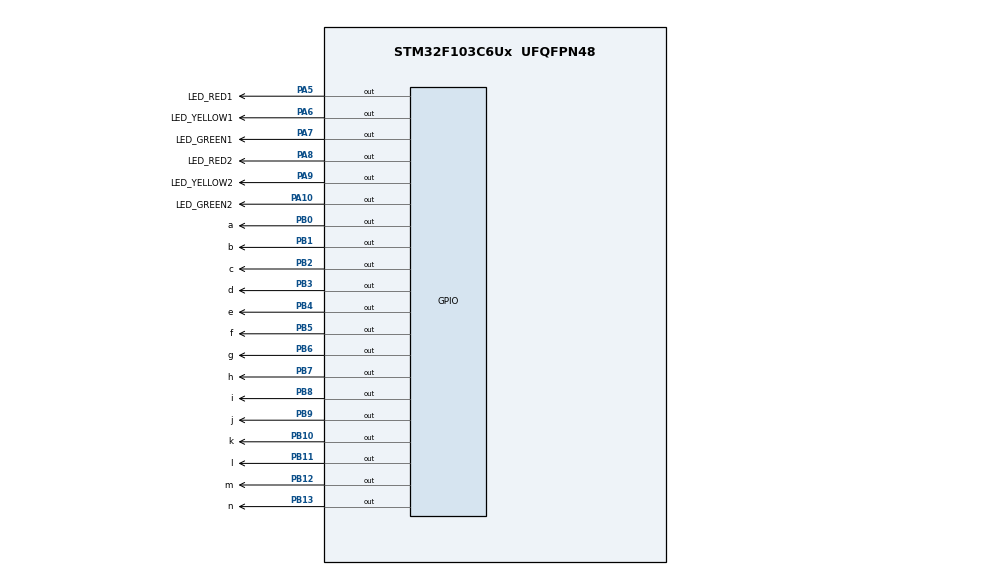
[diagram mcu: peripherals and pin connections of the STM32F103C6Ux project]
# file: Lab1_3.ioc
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Mcu.Family=STM32F1
Mcu.Name=STM32F103C6Ux
Mcu.Package=UFQFPN48
NVIC.PriorityGroup=NVIC_PRIORITYGROUP_4
PA10.GPIO_Label=LED_GREEN2
PA10.Signal=GPIO_Output
PA5.GPIO_Label=LED_RED1
PA5.Signal=GPIO_Output
PA6.GPIO_Label=LED_YELLOW1
PA6.Signal=GPIO_Output
PA7.GPIO_Label=LED_GREEN1
PA7.Signal=GPIO_Output
PA8.GPIO_Label=LED_RED2
PA8.Signal=GPIO_Output
PA9.GPIO_Label=LED_YELLOW2
PA9.Signal=GPIO_Output
PB0.GPIO_Label=a
PB0.Signal=GPIO_Output
PB1.GPIO_Label=b
PB1.Signal=GPIO_Output
PB10.GPIO_Label=k
PB10.Signal=GPIO_Output
PB11.GPIO_Label=l
PB11.Signal=GPIO_Output
PB12.GPIO_Label=m
PB12.Signal=GPIO_Output
PB13.GPIO_Label=n
PB13.Signal=GPIO_Output
PB2.GPIO_Label=c
PB2.Signal=GPIO_Output
PB3.GPIO_Label=d
PB3.Signal=GPIO_Output
PB4.GPIO_Label=e
PB4.Signal=GPIO_Output
PB5.GPIO_Label=f
PB5.Signal=GPIO_Output
PB6.GPIO_Label=g
PB6.Signal=GPIO_Output
PB7.GPIO_Label=h
PB7.Signal=GPIO_Output
PB8.GPIO_Label=i
PB8.Signal=GPIO_Output
PB9.GPIO_Label=j
PB9.Signal=GPIO_Output
ProjectManager.HeapSize=0x200
ProjectManager.StackSize=0x400
ProjectManager.TargetToolchain=STM32CubeIDE
RCC.APB1Freq_Value=8000000
RCC.APB2Freq_Value=8000000
VP_SYS_VS_ND.Mode=No_Debug
board=custom

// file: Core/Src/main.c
/* USER CODE BEGIN Header */
/**
  ******************************************************************************
  * @file           : main.c
  * @brief          : Main program body
  ******************************************************************************
  * @attention
  *
  * <h2><center>&copy; Copyright (c) 2024 STMicroelectronics.
  * All rights reserved.</center></h2>
  *
  * This software component is licensed by ST under BSD 3-Clause license,
  * the "License"; You may not use this file except in compliance with the
  * License. You may obtain a copy of the License at:
  *                        opensource.org/licenses/BSD-3-Clause
  *
  ******************************************************************************
  */
/* USER CODE END Header */
#include "main.h"

void SystemClock_Config(void);
static void MX_GPIO_Init(void);

/* USER CODE BEGIN 0 */
void display7SEG_1(int num)
{
	if(num == 0)
	{
		HAL_GPIO_WritePin(a_GPIO_Port, a_Pin, RESET);
		HAL_GPIO_WritePin(b_GPIO_Port, b_Pin, RESET);
		HAL_GPIO_WritePin(c_GPIO_Port, c_Pin, RESET);
		HAL_GPIO_WritePin(d_GPIO_Port, d_Pin, RESET);
		HAL_GPIO_WritePin(e_GPIO_Port, e_Pin, RESET);
		HAL_GPIO_WritePin(f_GPIO_Port, f_Pin, RESET);
		HAL_GPIO_WritePin(g_GPIO_Port, g_Pin, SET);
	}
	else if(num == 1)
	{
		HAL_GPIO_WritePin(a_GPIO_Port, a_Pin, SET);
		HAL_GPIO_WritePin(b_GPIO_Port, b_Pin, RESET);
		HAL_GPIO_WritePin(c_GPIO_Port, c_Pin, RESET);
		HAL_GPIO_WritePin(d_GPIO_Port, d_Pin, SET);
		HAL_GPIO_WritePin(e_GPIO_Port, e_Pin, SET);
		HAL_GPIO_WritePin(f_GPIO_Port, f_Pin, SET);
		HAL_GPIO_WritePin(g_GPIO_Port, g_Pin, SET);
	}
	else if(num == 2)
	{
		HAL_GPIO_WritePin(a_GPIO_Port, a_Pin, RESET);
		HAL_GPIO_WritePin(b_GPIO_Port, b_Pin, RESET);
		HAL_GPIO_WritePin(c_GPIO_Port, c_Pin, SET);
		HAL_GPIO_WritePin(d_GPIO_Port, d_Pin, RESET);
		HAL_GPIO_WritePin(e_GPIO_Port, e_Pin, RESET);
		HAL_GPIO_WritePin(f_GPIO_Port, f_Pin, SET);
		HAL_GPIO_WritePin(g_GPIO_Port, g_Pin, RESET);
	}
	else if(num == 3)
	{
		HAL_GPIO_WritePin(a_GPIO_Port, a_Pin, RESET);
		HAL_GPIO_WritePin(b_GPIO_Port, b_Pin, RESET);
		HAL_GPIO_WritePin(c_GPIO_Port, c_Pin, RESET);
		HAL_GPIO_WritePin(d_GPIO_Port, d_Pin, RESET);
		HAL_GPIO_WritePin(e_GPIO_Port, e_Pin, SET);
		HAL_GPIO_WritePin(f_GPIO_Port, f_Pin, SET);
		HAL_GPIO_WritePin(g_GPIO_Port, g_Pin, RESET);
	}
	else if(num == 4)
	{
		HAL_GPIO_WritePin(a_GPIO_Port, a_Pin, SET);
		HAL_GPIO_WritePin(b_GPIO_Port, b_Pin, RESET);
		HAL_GPIO_WritePin(c_GPIO_Port, c_Pin, RESET);
		HAL_GPIO_WritePin(d_GPIO_Port, d_Pin, SET);
		HAL_GPIO_WritePin(e_GPIO_Port, e_Pin, SET);
		HAL_GPIO_WritePin(f_GPIO_Port, f_Pin, RESET);
		HAL_GPIO_WritePin(g_GPIO_Port, g_Pin, RESET);
	}
	else if(num == 5)
	{
		HAL_GPIO_WritePin(a_GPIO_Port, a_Pin, RESET);
		HAL_GPIO_WritePin(b_GPIO_Port, b_Pin, SET);
		HAL_GPIO_WritePin(c_GPIO_Port, c_Pin, RESET);
		HAL_GPIO_WritePin(d_GPIO_Port, d_Pin, RESET);
		HAL_GPIO_WritePin(e_GPIO_Port, e_Pin, SET);
		HAL_GPIO_WritePin(f_GPIO_Port, f_Pin, RESET);
		HAL_GPIO_WritePin(g_GPIO_Port, g_Pin, RESET);
	}
	else if(num == 6)
	{
		HAL_GPIO_WritePin(a_GPIO_Port, a_Pin, RESET);
		HAL_GPIO_WritePin(b_GPIO_Port, b_Pin, SET);
		HAL_GPIO_WritePin(c_GPIO_Port, c_Pin, RESET);
		HAL_GPIO_WritePin(d_GPIO_Port, d_Pin, RESET);
		HAL_GPIO_WritePin(e_GPIO_Port, e_Pin, RESET);
		HAL_GPIO_WritePin(f_GPIO_Port, f_Pin, RESET);
		HAL_GPIO_WritePin(g_GPIO_Port, g_Pin, RESET);
	}
	else if(num == 7)
	{
		HAL_GPIO_WritePin(a_GPIO_Port, a_Pin, RESET);
		HAL_GPIO_WritePin(b_GPIO_Port, b_Pin, RESET);
		HAL_GPIO_WritePin(c_GPIO_Port, c_Pin, RESET);
		HAL_GPIO_WritePin(d_GPIO_Port, d_Pin, SET);
		HAL_GPIO_WritePin(e_GPIO_Port, e_Pin, SET);
		HAL_GPIO_WritePin(f_GPIO_Port, f_Pin, SET);
		HAL_GPIO_WritePin(g_GPIO_Port, g_Pin, SET);
	}
	else if(num == 8)
	{
		HAL_GPIO_WritePin(a_GPIO_Port, a_Pin, RESET);
		HAL_GPIO_WritePin(b_GPIO_Port, b_Pin, RESET);
		HAL_GPIO_WritePin(c_GPIO_Port, c_Pin, RESET);
		HAL_GPIO_WritePin(d_GPIO_Port, d_Pin, RESET);
		HAL_GPIO_WritePin(e_GPIO_Port, e_Pin, RESET);
		HAL_GPIO_WritePin(f_GPIO_Port, f_Pin, RESET);
		HAL_GPIO_WritePin(g_GPIO_Port, g_Pin, RESET);
	}
	else if(num == 9)
	{
		HAL_GPIO_WritePin(a_GPIO_Port, a_Pin, RESET);
		HAL_GPIO_WritePin(b_GPIO_Port, b_Pin, RESET);
		HAL_GPIO_WritePin(c_GPIO_Port, c_Pin, RESET);
		HAL_GPIO_WritePin(d_GPIO_Port, d_Pin, RESET);
		HAL_GPIO_WritePin(e_GPIO_Port, e_Pin, SET);
		HAL_GPIO_WritePin(f_GPIO_Port, f_Pin, RESET);
		HAL_GPIO_WritePin(g_GPIO_Port, g_Pin, RESET);
	}
}

void display7SEG_2(int num)
{
	if(num == 0)
	{
		HAL_GPIO_WritePin(h_GPIO_Port, h_Pin, RESET);
		HAL_GPIO_WritePin(i_GPIO_Port, i_Pin, RESET);
		HAL_GPIO_WritePin(j_GPIO_Port, j_Pin, RESET);
		HAL_GPIO_WritePin(k_GPIO_Port, k_Pin, RESET);
		HAL_GPIO_WritePin(l_GPIO_Port, l_Pin, RESET);
		HAL_GPIO_WritePin(m_GPIO_Port, m_Pin, RESET);
		HAL_GPIO_WritePin(n_GPIO_Port, n_Pin, SET);
	}
	else if(num == 1)
	{
		HAL_GPIO_WritePin(h_GPIO_Port, h_Pin, SET);
		HAL_GPIO_WritePin(i_GPIO_Port, i_Pin, RESET);
		HAL_GPIO_WritePin(j_GPIO_Port, j_Pin, RESET);
		HAL_GPIO_WritePin(k_GPIO_Port, k_Pin, SET);
		HAL_GPIO_WritePin(l_GPIO_Port, l_Pin, SET);
		HAL_GPIO_WritePin(m_GPIO_Port, m_Pin, SET);
		HAL_GPIO_WritePin(n_GPIO_Port, n_Pin, SET);
	}
	else if(num == 2)
	{
		HAL_GPIO_WritePin(h_GPIO_Port, h_Pin, RESET);
		HAL_GPIO_WritePin(i_GPIO_Port, i_Pin, RESET);
		HAL_GPIO_WritePin(j_GPIO_Port, j_Pin, SET);
		HAL_GPIO_WritePin(k_GPIO_Port, k_Pin, RESET);
		HAL_GPIO_WritePin(l_GPIO_Port, l_Pin, RESET);
		HAL_GPIO_WritePin(m_GPIO_Port, m_Pin, SET);
		HAL_GPIO_WritePin(n_GPIO_Port, n_Pin, RESET);
	}
	else if(num == 3)
	{
		HAL_GPIO_WritePin(h_GPIO_Port, h_Pin, RESET);
		HAL_GPIO_WritePin(i_GPIO_Port, i_Pin, RESET);
		HAL_GPIO_WritePin(j_GPIO_Port, j_Pin, RESET);
		HAL_GPIO_WritePin(k_GPIO_Port, k_Pin, RESET);
		HAL_GPIO_WritePin(l_GPIO_Port, l_Pin, SET);
		HAL_GPIO_WritePin(m_GPIO_Port, m_Pin, SET);
		HAL_GPIO_WritePin(n_GPIO_Port, n_Pin, RESET);
	}
	else if(num == 4)
	{
		HAL_GPIO_WritePin(h_GPIO_Port, h_Pin, SET);
		HAL_GPIO_WritePin(i_GPIO_Port, i_Pin, RESET);
		HAL_GPIO_WritePin(j_GPIO_Port, j_Pin, RESET);
		HAL_GPIO_WritePin(k_GPIO_Port, k_Pin, SET);
		HAL_GPIO_WritePin(l_GPIO_Port, l_Pin, SET);
		HAL_GPIO_WritePin(m_GPIO_Port, m_Pin, RESET);
		HAL_GPIO_WritePin(n_GPIO_Port, n_Pin, RESET);
	}
	else if(num == 5)
	{
		HAL_GPIO_WritePin(h_GPIO_Port, h_Pin, RESET);
		HAL_GPIO_WritePin(i_GPIO_Port, i_Pin, SET);
		HAL_GPIO_WritePin(j_GPIO_Port, j_Pin, RESET);
		HAL_GPIO_WritePin(k_GPIO_Port, k_Pin, RESET);
		HAL_GPIO_WritePin(l_GPIO_Port, l_Pin, SET);
		HAL_GPIO_WritePin(m_GPIO_Port, m_Pin, RESET);
		HAL_GPIO_WritePin(n_GPIO_Port, n_Pin, RESET);
	}
	else if(num == 6)
	{
		HAL_GPIO_WritePin(h_GPIO_Port, h_Pin, RESET);
		HAL_GPIO_WritePin(i_GPIO_Port, i_Pin, SET);
		HAL_GPIO_WritePin(j_GPIO_Port, j_Pin, RESET);
		HAL_GPIO_WritePin(k_GPIO_Port, k_Pin, RESET);
		HAL_GPIO_WritePin(l_GPIO_Port, l_Pin, RESET);
		HAL_GPIO_WritePin(m_GPIO_Port, m_Pin, RESET);
		HAL_GPIO_WritePin(n_GPIO_Port, n_Pin, RESET);
	}
	else if(num == 7)
	{
		HAL_GPIO_WritePin(h_GPIO_Port, h_Pin, RESET);
		HAL_GPIO_WritePin(i_GPIO_Port, i_Pin, RESET);
		HAL_GPIO_WritePin(j_GPIO_Port, j_Pin, RESET);
		HAL_GPIO_WritePin(k_GPIO_Port, k_Pin, SET);
		HAL_GPIO_WritePin(l_GPIO_Port, l_Pin, SET);
		HAL_GPIO_WritePin(m_GPIO_Port, m_Pin, SET);
		HAL_GPIO_WritePin(n_GPIO_Port, n_Pin, SET);
	}
	else if(num == 8)
	{
		HAL_GPIO_WritePin(h_GPIO_Port, h_Pin, RESET);
		HAL_GPIO_WritePin(i_GPIO_Port, i_Pin, RESET);
		HAL_GPIO_WritePin(j_GPIO_Port, j_Pin, RESET);
		HAL_GPIO_WritePin(k_GPIO_Port, k_Pin, RESET);
		HAL_GPIO_WritePin(l_GPIO_Port, l_Pin, RESET);
		HAL_GPIO_WritePin(m_GPIO_Port, m_Pin, RESET);
		HAL_GPIO_WritePin(n_GPIO_Port, n_Pin, RESET);
	}
	else if(num == 9)
	{
		HAL_GPIO_WritePin(h_GPIO_Port, h_Pin, RESET);
		HAL_GPIO_WritePin(i_GPIO_Port, i_Pin, RESET);
		HAL_GPIO_WritePin(j_GPIO_Port, j_Pin, RESET);
		HAL_GPIO_WritePin(k_GPIO_Port, k_Pin, RESET);
		HAL_GPIO_WritePin(l_GPIO_Port, l_Pin, SET);
		HAL_GPIO_WritePin(m_GPIO_Port, m_Pin, RESET);
		HAL_GPIO_WritePin(n_GPIO_Port, n_Pin, RESET);
	}
}
/* USER CODE END 0 */

int main(void)
{

  /* MCU Configuration--------------------------------------------------------*/

  /* Reset of all peripherals, Initializes the Flash interface and the Systick. */
  HAL_Init();

  /* Configure the system clock */
  SystemClock_Config();

  /* Initialize all configured peripherals */
  MX_GPIO_Init();

  /* Infinite loop */
  /* USER CODE BEGIN WHILE */
  HAL_GPIO_WritePin(LED_RED1_GPIO_Port, LED_RED1_Pin, SET);
  HAL_GPIO_WritePin(LED_YELLOW1_GPIO_Port, LED_YELLOW1_Pin, SET);
  HAL_GPIO_WritePin(LED_GREEN1_GPIO_Port, LED_GREEN1_Pin, SET);
  HAL_GPIO_WritePin(LED_RED2_GPIO_Port, LED_RED2_Pin, SET);
  HAL_GPIO_WritePin(LED_YELLOW2_GPIO_Port, LED_YELLOW2_Pin, SET);
  HAL_GPIO_WritePin(LED_GREEN2_GPIO_Port, LED_GREEN2_Pin, SET);

  HAL_GPIO_WritePin(a_GPIO_Port, a_Pin, SET);
  HAL_GPIO_WritePin(b_GPIO_Port, b_Pin, SET);
  HAL_GPIO_WritePin(c_GPIO_Port, c_Pin, SET);
  HAL_GPIO_WritePin(d_GPIO_Port, d_Pin, SET);
  HAL_GPIO_WritePin(e_GPIO_Port, e_Pin, SET);
  HAL_GPIO_WritePin(f_GPIO_Port, f_Pin, SET);
  HAL_GPIO_WritePin(g_GPIO_Port, g_Pin, SET);
  HAL_GPIO_WritePin(h_GPIO_Port, h_Pin, SET);
  HAL_GPIO_WritePin(i_GPIO_Port, i_Pin, SET);
  HAL_GPIO_WritePin(j_GPIO_Port, j_Pin, SET);
  HAL_GPIO_WritePin(k_GPIO_Port, k_Pin, SET);
  HAL_GPIO_WritePin(l_GPIO_Port, l_Pin, SET);
  HAL_GPIO_WritePin(m_GPIO_Port, m_Pin, SET);
  HAL_GPIO_WritePin(n_GPIO_Port, n_Pin, SET);

  // int counter = 0;

  while (1)
  {
	  for(int i = 9; i >= 0; i--)
	  {
		  if(i >= 5)
		  {
			  HAL_GPIO_WritePin(LED_YELLOW1_GPIO_Port, LED_YELLOW1_Pin, SET);
			  HAL_GPIO_WritePin(LED_RED1_GPIO_Port, LED_RED1_Pin, RESET);
			  display7SEG_1(i - 5);
		  }
		  else if(i >= 2)
		  {
			  HAL_GPIO_WritePin(LED_RED1_GPIO_Port, LED_RED1_Pin, SET);
			  HAL_GPIO_WritePin(LED_GREEN1_GPIO_Port, LED_GREEN1_Pin, RESET);
			  display7SEG_1(i - 2);
		  }
		  else
		  {
			  HAL_GPIO_WritePin(LED_GREEN1_GPIO_Port, LED_GREEN1_Pin, SET);
			  HAL_GPIO_WritePin(LED_YELLOW1_GPIO_Port, LED_YELLOW1_Pin, RESET);
			  display7SEG_1(i);
		  }
		  if(i >= 7)
		  {
			  HAL_GPIO_WritePin(LED_RED2_GPIO_Port, LED_RED2_Pin, SET);
			  HAL_GPIO_WritePin(LED_GREEN2_GPIO_Port, LED_GREEN2_Pin, RESET);
			  display7SEG_2(i - 7);
		  }
		  else if(i >= 5)
		  {
			  HAL_GPIO_WritePin(LED_GREEN2_GPIO_Port, LED_GREEN2_Pin, SET);
			  HAL_GPIO_WritePin(LED_YELLOW2_GPIO_Port, LED_YELLOW2_Pin, RESET);
			  display7SEG_2(i - 5);
		  }
		  else
		  {
			  HAL_GPIO_WritePin(LED_YELLOW2_GPIO_Port, LED_YELLOW2_Pin, SET);
			  HAL_GPIO_WritePin(LED_RED2_GPIO_Port, LED_RED2_Pin, RESET);
			  display7SEG_2(i);
		  }
		  HAL_Delay(1000);
	  }
//	  if(counter <= 0)
//	  {
//		  counter = 9;
//	  }
//	  switch(state)
//	  {
//	  	  case 1:
//			  HAL_GPIO_TogglePin(LED_RED1_GPIO_Port, LED_RED1_Pin);
//			  HAL_GPIO_TogglePin(LED_GREEN2_GPIO_Port, LED_GREEN2_Pin);
//			  for(int i = 5; i >= 3; i--)
//			  {
//				  display7SEG(counter);
//				  counter--;
//				  HAL_Delay(1000);
//			  }
//			  // HAL_Delay(3000);
//			  HAL_GPIO_TogglePin(LED_GREEN2_GPIO_Port, LED_GREEN2_Pin);
//			  state = 2;
//			  break;
//	  	  case 2:
//			  HAL_GPIO_TogglePin(LED_YELLOW2_GPIO_Port, LED_YELLOW2_Pin);
//			  for(int i = 2; i >= 1; i--)
//			  {
//				  display7SEG(counter);
//				  counter--;
//				  HAL_Delay(1000);
//			  }
//			  // HAL_Delay(2000);
//			  HAL_GPIO_TogglePin(LED_YELLOW2_GPIO_Port, LED_YELLOW2_Pin);
//			  HAL_GPIO_TogglePin(LED_RED1_GPIO_Port, LED_RED1_Pin);
//			  state = 3;
//			  break;
//	  	  case 3:
//	  		  HAL_GPIO_TogglePin(LED_RED2_GPIO_Port, LED_RED2_Pin);
//			  HAL_GPIO_TogglePin(LED_GREEN1_GPIO_Port, LED_GREEN1_Pin);
//			  for(int i = 5; i >= 3; i--)
//			  {
//				  display7SEG(counter);
//				  counter--;
//				  HAL_Delay(1000);
//			  }
//			  // HAL_Delay(3000);
//			  HAL_GPIO_TogglePin(LED_GREEN1_GPIO_Port, LED_GREEN1_Pin);
//			  state = 4;
//			  break;
//	  	  case 4:
//	  		  HAL_GPIO_TogglePin(LED_YELLOW1_GPIO_Port, LED_YELLOW1_Pin);
//	  		  for(int i = 2; i >= 1; i--)
//			  {
//				  display7SEG(counter);
//				  counter--;
//				  HAL_Delay(1000);
//			  }
//			  // HAL_Delay(2000);
//			  HAL_GPIO_TogglePin(LED_YELLOW1_GPIO_Port, LED_YELLOW1_Pin);
//			  HAL_GPIO_TogglePin(LED_RED2_GPIO_Port, LED_RED2_Pin);
//			  state = 1;
//			  break;
//	  }
    /* USER CODE END WHILE */

  }
}

void SystemClock_Config(void)
{
  RCC_OscInitTypeDef RCC_OscInitStruct = {0};
  RCC_ClkInitTypeDef RCC_ClkInitStruct = {0};

  /** Initializes the RCC Oscillators according to the specified parameters
  * in the RCC_OscInitTypeDef structure.
  */
  RCC_OscInitStruct.OscillatorType = RCC_OSCILLATORTYPE_HSI;
  RCC_OscInitStruct.HSIState = RCC_HSI_ON;
  RCC_OscInitStruct.HSICalibrationValue = RCC_HSICALIBRATION_DEFAULT;
  RCC_OscInitStruct.PLL.PLLState = RCC_PLL_NONE;
  if (HAL_RCC_OscConfig(&RCC_OscInitStruct) != HAL_OK)
  {
    Error_Handler();
  }
  /** Initializes the CPU, AHB and APB buses clocks
  */
  RCC_ClkInitStruct.ClockType = RCC_CLOCKTYPE_HCLK|RCC_CLOCKTYPE_SYSCLK
                              |RCC_CLOCKTYPE_PCLK1|RCC_CLOCKTYPE_PCLK2;
  RCC_ClkInitStruct.SYSCLKSource = RCC_SYSCLKSOURCE_HSI;
  RCC_ClkInitStruct.AHBCLKDivider = RCC_SYSCLK_DIV1;
  RCC_ClkInitStruct.APB1CLKDivider = RCC_HCLK_DIV1;
  RCC_ClkInitStruct.APB2CLKDivider = RCC_HCLK_DIV1;

  if (HAL_RCC_ClockConfig(&RCC_ClkInitStruct, FLASH_LATENCY_0) != HAL_OK)
  {
    Error_Handler();
  }
}

static void MX_GPIO_Init(void)
{
  GPIO_InitTypeDef GPIO_InitStruct = {0};

  /* GPIO Ports Clock Enable */
  __HAL_RCC_GPIOA_CLK_ENABLE();
  __HAL_RCC_GPIOB_CLK_ENABLE();

  /*Configure GPIO pin Output Level */
  HAL_GPIO_WritePin(GPIOA, LED_RED1_Pin|LED_YELLOW1_Pin|LED_GREEN1_Pin|LED_RED2_Pin
                          |LED_YELLOW2_Pin|LED_GREEN2_Pin, GPIO_PIN_RESET);

  /*Configure GPIO pin Output Level */
  HAL_GPIO_WritePin(GPIOB, a_Pin|b_Pin|c_Pin|k_Pin
                          |l_Pin|m_Pin|n_Pin|d_Pin
                          |e_Pin|f_Pin|g_Pin|h_Pin
                          |i_Pin|j_Pin, GPIO_PIN_RESET);

  /*Configure GPIO pins : LED_RED1_Pin LED_YELLOW1_Pin LED_GREEN1_Pin LED_RED2_Pin
                           LED_YELLOW2_Pin LED_GREEN2_Pin */
  GPIO_InitStruct.Pin = LED_RED1_Pin|LED_YELLOW1_Pin|LED_GREEN1_Pin|LED_RED2_Pin
                          |LED_YELLOW2_Pin|LED_GREEN2_Pin;
  GPIO_InitStruct.Mode = GPIO_MODE_OUTPUT_PP;
  GPIO_InitStruct.Pull = GPIO_NOPULL;
  GPIO_InitStruct.Speed = GPIO_SPEED_FREQ_LOW;
  HAL_GPIO_Init(GPIOA, &GPIO_InitStruct);

  /*Configure GPIO pins : a_Pin b_Pin c_Pin k_Pin
                           l_Pin m_Pin n_Pin d_Pin
                           e_Pin f_Pin g_Pin h_Pin
                           i_Pin j_Pin */
  GPIO_InitStruct.Pin = a_Pin|b_Pin|c_Pin|k_Pin
                          |l_Pin|m_Pin|n_Pin|d_Pin
                          |e_Pin|f_Pin|g_Pin|h_Pin
                          |i_Pin|j_Pin;
  GPIO_InitStruct.Mode = GPIO_MODE_OUTPUT_PP;
  GPIO_InitStruct.Pull = GPIO_NOPULL;
  GPIO_InitStruct.Speed = GPIO_SPEED_FREQ_LOW;
  HAL_GPIO_Init(GPIOB, &GPIO_InitStruct);

}

void Error_Handler(void)
{
  __disable_irq();
  while (1)
  {
  }
}

/************************ (C) COPYRIGHT STMicroelectronics *****END OF FILE****/
